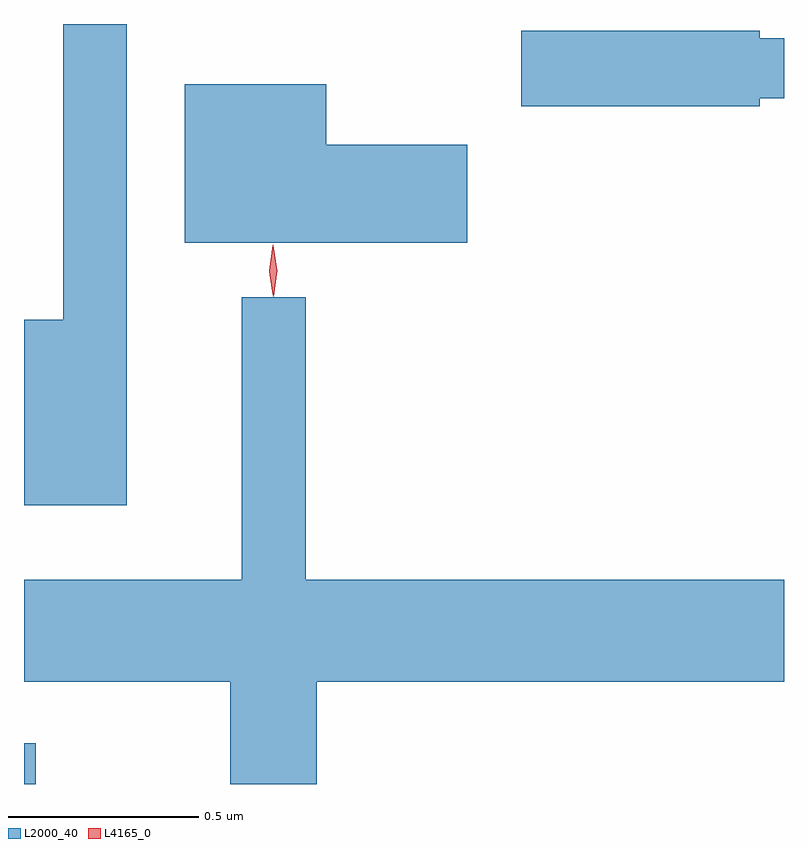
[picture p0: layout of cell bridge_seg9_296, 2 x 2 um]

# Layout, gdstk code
import gdstk
lib = gdstk.Library(unit=1e-6, precision=1e-09)
def R(c, l, rs):  # rectangles x0, y0, x1, y1
    for r in rs: c.add(gdstk.rectangle(r[:2], r[2:], *l))
def P(c, l, *ps):  # polygons
    for p in ps: c.add(gdstk.Polygon(p, *l))
L2000_40 = (2000, 40)
L4165_0 = (4165, 0)

bridge_seg9_296 = lib.new_cell('bridge_seg9_296')
R(bridge_seg9_296, L2000_40, [(1017.228,2051.487,1017.259,2051.594)])
P(bridge_seg9_296, L2000_40, [(1017.499,2053.487),(1017.331,2053.487),(1017.331,2052.709),(1017.228,2052.709),(1017.228,2052.221),(1017.499,2052.221)],
  [(1019.164,2053.291),(1019.228,2053.291),(1019.228,2053.449),(1019.164,2053.449),(1019.164,2053.469),(1018.536,2053.469),(1018.536,2053.271),(1019.164,2053.271)],
  [(1018.394,2053.169),(1018.024,2053.169),(1018.024,2053.329),(1017.651,2053.329),(1017.651,2052.911),(1018.394,2052.911)],
  [(1017.999,2051.756),(1019.228,2051.756),(1019.228,2052.024),(1017.969,2052.024),(1017.969,2052.768),(1017.801,2052.768),(1017.801,2052.024),(1017.228,2052.024),(1017.228,2051.756),(1017.771,2051.756),(1017.771,2051.487),(1017.999,2051.487)])
P(bridge_seg9_296, L4165_0, [(1017.884,2052.77),(1017.874,2052.838),(1017.883,2052.905),(1017.884,2052.906),(1017.884,2052.905),(1017.894,2052.838),(1017.885,2052.77),(1017.885,2052.77)],
  [(1017.884,2052.773),(1017.883,2052.774),(1017.874,2052.836),(1017.883,2052.899),(1017.884,2052.9),(1017.884,2052.899),(1017.894,2052.836),(1017.884,2052.774)])

lib.write_gds('bridge_seg9_296.gds')
